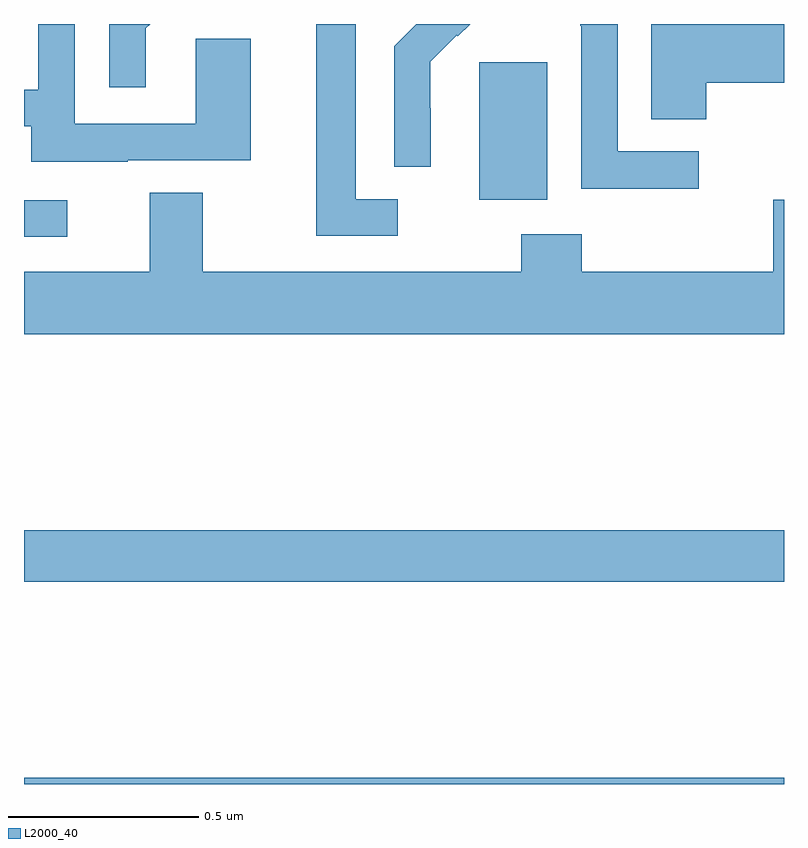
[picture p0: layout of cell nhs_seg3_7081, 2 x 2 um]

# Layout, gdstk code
import gdstk
lib = gdstk.Library(unit=1e-6, precision=1e-09)
def R(c, l, rs):  # rectangles x0, y0, x1, y1
    for r in rs: c.add(gdstk.rectangle(r[:2], r[2:], *l))
def P(c, l, *ps):  # polygons
    for p in ps: c.add(gdstk.Polygon(p, *l))
L2000_40 = (2000, 40)

nhs_seg3_7081 = lib.new_cell('nhs_seg3_7081')
R(nhs_seg3_7081, L2000_40, [(199,698.4,201,698.416), (199,698.932,201,699.068), (199,699.84,199.114,699.936), (200.198,699.938,200.377,700.299)])
P(nhs_seg3_7081, L2000_40, [(200.07,700.178),(200.069,700.178),(200.069,700.301),(200.139,700.371),(200.142,700.368),(200.174,700.4),(200.032,700.4),(199.974,700.342),(199.974,700.024),(200.07,700.024)],
  [(200.776,700.065),(200.562,700.065),(200.562,700.4),(200.464,700.4),(200.464,700.396),(200.466,700.396),(200.466,699.967),(200.776,699.967)],
  [(200.795,700.246),(201,700.246),(201,700.4),(200.651,700.4),(200.651,700.15),(200.795,700.15)],
  [(199.321,700.389),(199.332,700.4),(199.224,700.4),(199.224,700.233),(199.321,700.233)],
  [(199.984,699.939),(199.873,699.939),(199.873,700.4),(199.769,700.4),(199.769,699.843),(199.984,699.843)],
  [(199.273,700.041),(199.597,700.041),(199.597,700.361),(199.452,700.361),(199.452,700.137),(199.134,700.137),(199.134,700.4),(199.038,700.4),(199.038,700.227),(199,700.227),(199,700.131),(199.019,700.131),(199.019,700.037),(199.273,700.037)],
  [(201,699.937),(200.972,699.937),(200.972,699.748),(200.468,699.748),(200.468,699.847),(200.308,699.847),(200.308,699.748),(199.471,699.748),(199.471,699.956),(199.331,699.956),(199.331,699.748),(199,699.748),(199,699.584),(201,699.584)])

lib.write_gds('nhs_seg3_7081.gds')
